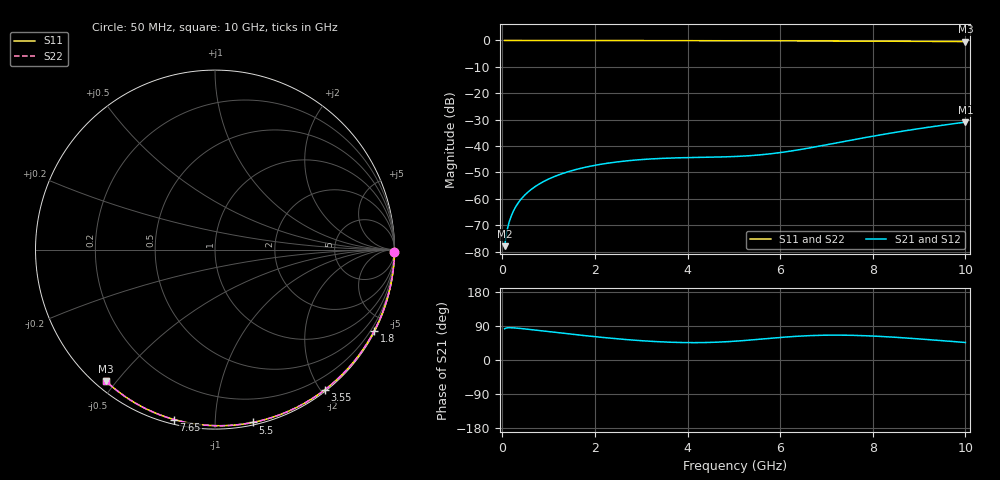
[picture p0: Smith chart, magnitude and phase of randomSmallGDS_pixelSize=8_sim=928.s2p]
! freq	dB(S11)	phase(S11)	dB(S12)	phase(S12)
!  dB(S21)	phase(S21)	dB(S22)	phase(S22)
!S-par simulation data
#  GHz  S  DB  R 50
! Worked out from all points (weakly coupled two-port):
!   200 points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, 50 MHz to 10 GHz, reference 50 ohm
!   highest |S21| = -30.96 dB at 10 GHz (marker M1); lowest = -78.0 dB at 50 MHz (marker M2)
!   lowest |S11| = -0.4 dB at 10 GHz (marker M3), VSWR 40.41, Z = 1.51 - j23.5 ohm
!   |S11| at or under -10 dB: nowhere
!   |S22| runs from -0.4 to 0.0 dB; largest |S21 - S12| = 0
!   S11 on the Smith chart (normalised r, x): 50 MHz: open; 1.8 GHz: 0.04, -4.18; 3.55 GHz: 0.02, -2.06; 5.5 GHz: 0.02, -1.24; 7.65 GHz: 0.02, -0.79; 10 GHz: 0.03, -0.47
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0.05  -0.00 -0.8  -77.98 82.4  -77.98 82.4  -0.00 -0.8
0.1  -0.00 -1.5  -72.19 84.9  -72.19 84.9  -0.00 -1.5
0.15  -0.00 -2.3  -68.72 85.3  -68.72 85.3  -0.00 -2.3
0.2  -0.00 -3.0  -66.24 85.2  -66.24 85.2  -0.00 -3.0
0.25  -0.00 -3.8  -64.32 84.8  -64.32 84.8  -0.00 -3.8
0.35  -0.00 -5.3  -61.42 83.7  -61.42 83.7  -0.00 -5.3
0.5  -0.01 -7.6  -58.36 81.8  -58.36 81.8  -0.01 -7.6
0.7  -0.01 -10.6  -55.50 79.1  -55.50 79.1  -0.01 -10.6
1  -0.02 -15.1  -52.54 74.9  -52.54 74.9  -0.02 -15.1
1.35  -0.03 -20.3  -50.15 70.1  -50.15 70.1  -0.03 -20.3
1.75  -0.03 -26.2  -48.23 64.7  -48.23 64.7  -0.03 -26.2
1.8  -0.03 -26.9  -48.04 64.1  -48.04 64.1  -0.03 -26.9
2.5  -0.05 -37.1  -46.00 55.8  -46.00 55.8  -0.05 -37.1
3.4  -0.07 -49.8  -44.74 48.1  -44.74 48.1  -0.07 -49.8
3.55  -0.07 -51.8  -44.63 47.3  -44.63 47.3  -0.07 -51.8
4.3  -0.09 -62.0  -44.31 45.9  -44.31 45.9  -0.09 -62.0
5.05  -0.11 -71.9  -43.97 49.8  -43.97 49.8  -0.11 -71.9
5.5  -0.12 -77.6  -43.47 54.2  -43.47 54.2  -0.12 -77.6
6.7  -0.18 -92.4  -40.53 64.6  -40.53 64.6  -0.18 -92.4
7.65  -0.23 -103.6  -37.41 64.8  -37.41 64.8  -0.23 -103.6
8.35  -0.28 -111.5  -35.24 61.0  -35.24 61.0  -0.28 -111.5
10  -0.43 -129.7  -30.96 46.2  -30.96 46.2  -0.43 -129.7
